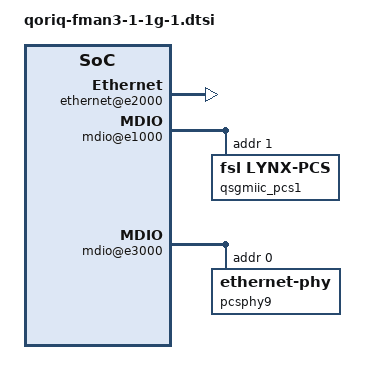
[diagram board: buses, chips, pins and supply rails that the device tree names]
fman@500000 {
	fman1_rx_0x09: port@89000 {
		cell-index = <0x9>;
		compatible = "fsl,fman-v3-port-rx";
		reg = <0x89000 0x1000>;
	};
	fman1_tx_0x29: port@a9000 {
		cell-index = <0x29>;
		compatible = "fsl,fman-v3-port-tx";
		reg = <0xa9000 0x1000>;
	};
	ethernet@e2000 {
		cell-index = <1>;
		compatible = "fsl,fman-memac";
		reg = <0xe2000 0x1000>;
		fsl,fman-ports = <&fman1_rx_0x09 &fman1_tx_0x29>;
		ptp-timer = <&ptp_timer1>;
		pcsphy-handle = <&pcsphy9>, <&qsgmiic_pcs1>;
		pcs-handle-names = "sgmii", "qsgmii";
	};
	mdio@e1000 {
		qsgmiic_pcs1: ethernet-pcs@1 {
			compatible = "fsl,lynx-pcs";
			reg = <1>;
		};
	};
	mdio@e3000 {
		#address-cells = <1>;
		#size-cells = <0>;
		compatible = "fsl,fman-memac-mdio", "fsl,fman-xmdio";
		reg = <0xe3000 0x1000>;
		fsl,erratum-a011043;  
		pcsphy9: ethernet-phy@0 {
			reg = <0x0>;
		};
	};
};
